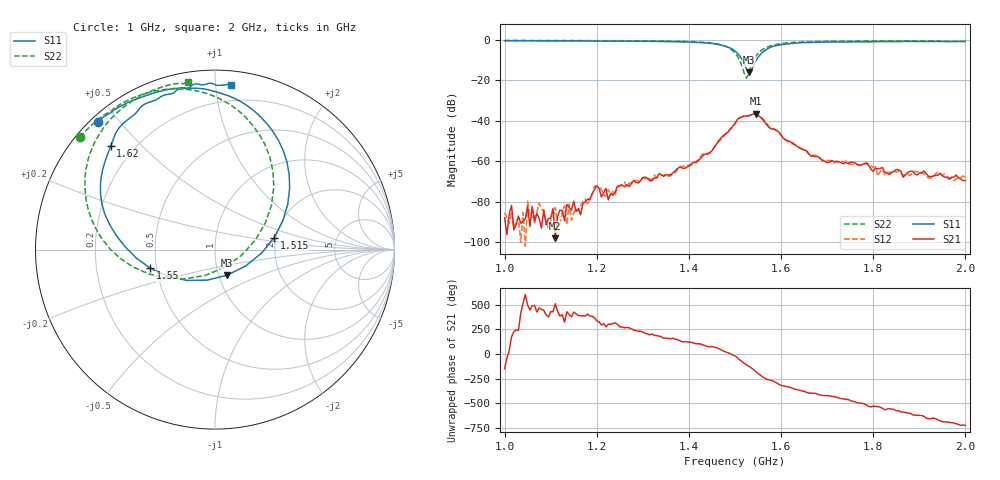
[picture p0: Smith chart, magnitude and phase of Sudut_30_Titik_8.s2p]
# Hz S RI R 50
! CMT, C1220, 16058040, 17.2.0/1
! Date: 14/08/2018 12:03:41
! Data: Format (Calibration Info)
! Freq  S11: Re/Im (F2)  S21: Re/Im (F2)  S12: Re/Im (F2)  S22: Re/Im (F2)
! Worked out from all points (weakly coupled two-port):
!   201 points, 1 GHz to 2 GHz, reference 50 ohm
!   highest |S21| = -36.48 dB at 1.545 GHz (marker M1); lowest = -98.1 dB at 1.11 GHz (marker M2)
!   lowest |S11| = -16.0 dB at 1.53 GHz (marker M3), VSWR 1.38, Z = 54.9 - j16 ohm
!   |S11| at or under -10 dB: 1.516 GHz to 1.546 GHz (29.84 MHz wide, 1.95 % of centre)
!   |S22| runs from -19.0 to -0.2 dB; largest |S21 - S12| = 0.00065
!   S11 on the Smith chart (normalised r, x): 1 GHz: 0.02, +0.44; 1.515 GHz: 1.95, +0.29; 1.55 GHz: 0.46, -0.11; 1.62 GHz: 0.12, +0.41; 2 GHz: 0.09, +1.10
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1e9  -0.6527 0.7098  -3.53e-05 -1.92e-05  5.26e-05 -1.03e-05  -0.7535 0.6257
1.11e9  -0.5514 0.7856  -1.07e-05 6.37e-06  -1e-05 7.12e-05  -0.6718 0.7076
1.17e9  -0.4841 0.8209  7.99e-05 4.23e-05  8.82e-05 5.29e-05  -0.6163 0.7516
1.195e9  -0.4473 0.8345  0.000198 2.93e-05  0.000226 -8.68e-05  -0.5868 0.7648
1.21e9  -0.4345 0.8398  5.31e-05 -0.00012  0.000118 -0.000163  -0.5783 0.7689
1.22e9  -0.4227 0.8443  1.76e-05 -0.000212  4.96e-05 -0.000125  -0.5714 0.7788
1.225e9  -0.4146 0.8471  5.73e-05 -9.4e-05  9.8e-05 -0.000174  -0.5662 0.7839
1.245e9  -0.3756 0.86  0.000122 -0.000208  0.000128 -0.000186  -0.5423 0.8006
1.335e9  -0.2271 0.8979  -0.000492 -3.4e-06  -0.000423 4.98e-05  -0.3997 0.8662
1.415e9  0.0146 0.8766  -0.000212 0.000897  -0.000274 0.000929  -0.1637 0.8932
1.465e9  0.2619 0.7314  0.00197 0.00265  0.00201 0.00224  0.1303 0.7745
1.5e9  0.4158 0.3392  0.00823 -0.00318  0.00767 -0.00303  0.3277 0.3488
1.515e9  0.3289 0.0655  0.00289 -0.0122  0.00328 -0.0122  0.2251 0.0536
1.525e9  0.1706 -0.0915  -0.00496 -0.0121  -0.00487 -0.0122  0.0526 -0.0995
1.53e9  0.0682 -0.1425  -0.00761 -0.0111  -0.00764 -0.0111  -0.055 -0.1439
1.545e9  -0.2643 -0.1486  -0.015 -0.000155  -0.0148 -0.000525  -0.3734 -0.134
1.55e9  -0.3603 -0.1042  -0.013 0.00447  -0.0131 0.0039  -0.4577 -0.0961
1.58e9  -0.631 0.258  8.08e-05 0.00629  0.000387 0.00655  -0.7041 0.2156
1.62e9  -0.581 0.5768  0.00284 0.00106  0.00267 0.000897  -0.7081 0.4973
1.67e9  -0.4588 0.7449  0.00104 -0.000847  0.00109 -0.000864  -0.6252 0.6728
1.835e9  -0.1583 0.897  -0.000457 0.000123  -0.000461 0.00026  -0.3751 0.8748
2e9  0.0877 0.9194  0.000331 -3.75e-05  0.000402 -4.83e-05  -0.1506 0.9336
